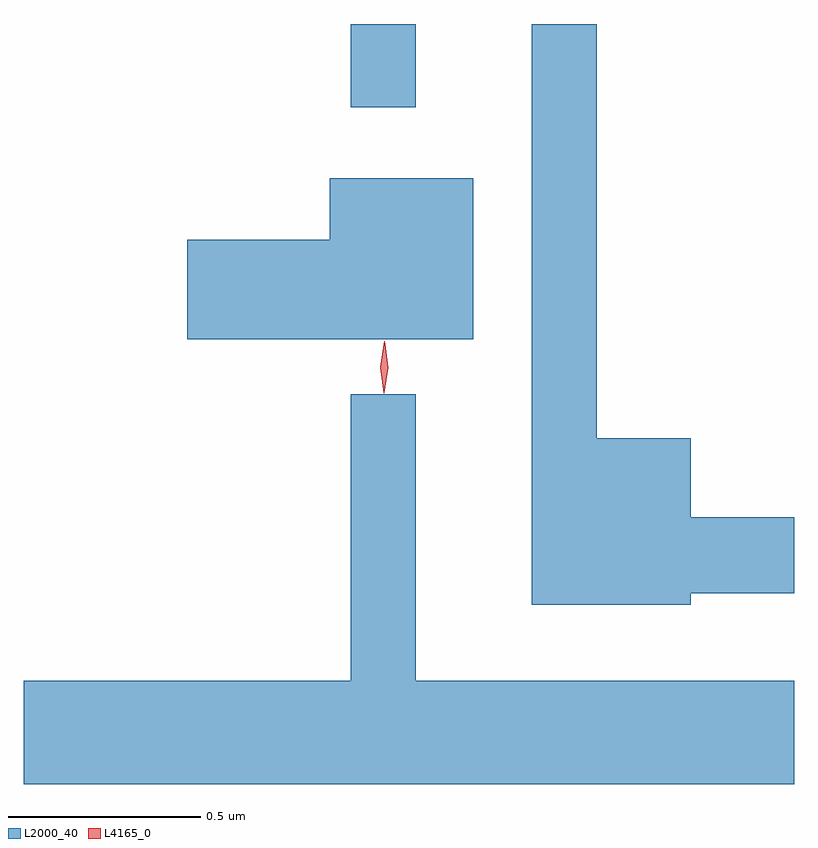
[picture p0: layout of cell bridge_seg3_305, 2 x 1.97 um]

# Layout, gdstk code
import gdstk
lib = gdstk.Library(unit=1e-6, precision=1e-09)
def R(c, l, rs):  # rectangles x0, y0, x1, y1
    for r in rs: c.add(gdstk.rectangle(r[:2], r[2:], *l))
def P(c, l, *ps):  # polygons
    for p in ps: c.add(gdstk.Polygon(p, *l))
L2000_40 = (2000, 40)
L4165_0 = (4165, 0)

bridge_seg3_305 = lib.new_cell('bridge_seg3_305')
R(bridge_seg3_305, L2000_40, [(1068.201,1125.553,1068.369,1125.769)])
P(bridge_seg3_305, L2000_40, [(1069.084,1124.291),(1069.352,1124.291),(1069.352,1124.489),(1069.084,1124.489),(1069.084,1124.694),(1068.839,1124.694),(1068.839,1125.769),(1068.671,1125.769),(1068.671,1124.261),(1069.084,1124.261)],
  [(1068.519,1125.369),(1068.146,1125.369),(1068.146,1125.209),(1067.776,1125.209),(1067.776,1124.951),(1068.519,1124.951)],
  [(1069.352,1124.064),(1068.369,1124.064),(1068.369,1124.808),(1068.201,1124.808),(1068.201,1124.064),(1067.352,1124.064),(1067.352,1123.796),(1069.352,1123.796)])
P(bridge_seg3_305, L4165_0, [(1068.287,1124.813),(1068.287,1124.813),(1068.278,1124.876),(1068.289,1124.939),(1068.289,1124.94),(1068.29,1124.939),(1068.298,1124.876),(1068.288,1124.813)],
  [(1068.287,1124.81),(1068.287,1124.81),(1068.278,1124.878),(1068.288,1124.946),(1068.289,1124.946),(1068.289,1124.946),(1068.298,1124.878),(1068.288,1124.81)])

lib.write_gds('bridge_seg3_305.gds')
